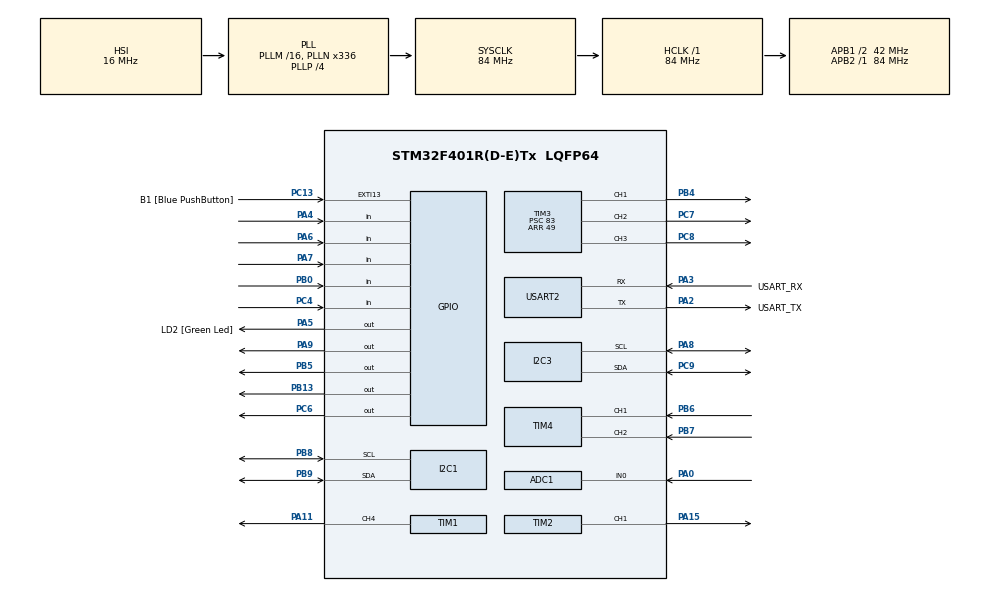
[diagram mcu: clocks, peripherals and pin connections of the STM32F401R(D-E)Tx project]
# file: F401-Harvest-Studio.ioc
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ADC1.Channel-0\#ChannelRegularConversion=ADC_CHANNEL_0
ADC1.NbrOfConversionFlag=1
ADC1.Rank-0\#ChannelRegularConversion=1
ADC1.SamplingTime-0\#ChannelRegularConversion=ADC_SAMPLETIME_3CYCLES
ADC1.master=1
Mcu.Family=STM32F4
Mcu.Name=STM32F401R(D-E)Tx
Mcu.Package=LQFP64
NVIC.PriorityGroup=NVIC_PRIORITYGROUP_0
PA0-WKUP.Signal=ADCx_IN0
PA11.Signal=S_TIM1_CH4
PA13.GPIO_Label=TMS
PA13.Mode=Serial_Wire
PA13.Signal=SYS_JTMS-SWDIO
PA14.GPIO_Label=TCK
PA14.Mode=Serial_Wire
PA14.Signal=SYS_JTCK-SWCLK
PA15.Signal=S_TIM2_CH1_ETR
PA2.GPIO_Label=USART_TX
PA2.GPIO_Mode=GPIO_MODE_AF_PP
PA2.GPIO_PuPd=GPIO_NOPULL
PA2.GPIO_Speed=GPIO_SPEED_FREQ_LOW
PA2.Mode=Asynchronous
PA2.Signal=USART2_TX
PA3.GPIO_Label=USART_RX
PA3.GPIO_Mode=GPIO_MODE_AF_PP
PA3.GPIO_PuPd=GPIO_NOPULL
PA3.GPIO_Speed=GPIO_SPEED_FREQ_LOW
PA3.Mode=Asynchronous
PA3.Signal=USART2_RX
PA4.Signal=GPIO_Input
PA5.GPIO_Label=LD2 [Green Led]
PA5.GPIO_Mode=GPIO_MODE_OUTPUT_PP
PA5.GPIO_PuPd=GPIO_NOPULL
PA5.GPIO_Speed=GPIO_SPEED_FREQ_LOW
PA5.Signal=GPIO_Output
PA6.GPIO_PuPd=GPIO_PULLDOWN
PA6.Signal=GPIO_Input
PA7.GPIO_PuPd=GPIO_PULLDOWN
PA7.Signal=GPIO_Input
PA8.Mode=I2C
PA8.Signal=I2C3_SCL
PA9.Signal=GPIO_Output
PB0.Signal=GPIO_Input
PB13.Signal=GPIO_Output
PB3.GPIO_Label=SWO
PB3.Signal=SYS_JTDO-SWO
PB4.Signal=S_TIM3_CH1
PB5.Signal=GPIO_Output
PB6.Signal=S_TIM4_CH1
PB7.Signal=S_TIM4_CH2
PB8.Mode=I2C
PB8.Signal=I2C1_SCL
PB9.Mode=I2C
PB9.Signal=I2C1_SDA
PC13-ANTI_TAMP.GPIO_Label=B1 [Blue PushButton]
PC13-ANTI_TAMP.GPIO_ModeDefaultEXTI=GPIO_MODE_IT_FALLING
PC13-ANTI_TAMP.GPIO_PuPd=GPIO_NOPULL
PC13-ANTI_TAMP.Signal=GPXTI13
PC14-OSC32_IN.Mode=LSE-External-Oscillator
PC14-OSC32_IN.Signal=RCC_OSC32_IN
PC15-OSC32_OUT.Mode=LSE-External-Oscillator
PC15-OSC32_OUT.Signal=RCC_OSC32_OUT
PC4.GPIO_PuPd=GPIO_PULLDOWN
PC4.Signal=GPIO_Input
PC6.Signal=GPIO_Output
PC7.Signal=S_TIM3_CH2
PC8.Signal=S_TIM3_CH3
PC9.Mode=I2C
PC9.Signal=I2C3_SDA
PH0\ -\ OSC_IN.Mode=HSE-External-Clock-Source
PH0\ -\ OSC_IN.Signal=RCC_OSC_IN
PH1\ -\ OSC_OUT.Mode=HSE-External-Clock-Source
PH1\ -\ OSC_OUT.Signal=RCC_OSC_OUT
ProjectManager.HeapSize=0x200
ProjectManager.StackSize=0x400
ProjectManager.TargetToolchain=STM32CubeIDE
RCC.48MHZClocksFreq_Value=48000000
RCC.AHBFreq_Value=84000000
RCC.APB1CLKDivider=RCC_HCLK_DIV2
RCC.APB1Freq_Value=42000000
RCC.APB1TimFreq_Value=84000000
RCC.APB2Freq_Value=84000000
RCC.APB2TimFreq_Value=84000000
RCC.CortexFreq_Value=84000000
RCC.HCLKFreq_Value=84000000
RCC.HSE_VALUE=8000000
RCC.HSI_VALUE=16000000
RCC.PLLN=336
RCC.PLLP=RCC_PLLP_DIV4
RCC.PLLQ=7
RCC.SYSCLKFreq_VALUE=84000000
RCC.SYSCLKSource=RCC_SYSCLKSOURCE_PLLCLK
RCC.VCOOutputFreq_Value=336000000
SH.ADCx_IN0.0=ADC1_IN0,IN0
SH.S_TIM1_CH4.0=TIM1_CH4,PWM Generation4 CH4
SH.S_TIM2_CH1_ETR.0=TIM2_CH1,PWM Generation1 CH1
SH.S_TIM3_CH1.0=TIM3_CH1,PWM Generation1 CH1
SH.S_TIM3_CH2.0=TIM3_CH2,PWM Generation2 CH2
SH.S_TIM3_CH3.0=TIM3_CH3,PWM Generation3 CH3
SH.S_TIM4_CH1.0=TIM4_CH1,Encoder_Interface
SH.S_TIM4_CH2.0=TIM4_CH2,Encoder_Interface
TIM1.Channel-PWM\ Generation4\ CH4=TIM_CHANNEL_4
TIM1.Period=49
TIM1.Prescaler=83
TIM2.Channel-PWM\ Generation1\ CH1=TIM_CHANNEL_1
TIM2.Prescaler=83
TIM3.Channel-PWM\ Generation1\ CH1=TIM_CHANNEL_1
TIM3.Channel-PWM\ Generation2\ CH2=TIM_CHANNEL_2
TIM3.Channel-PWM\ Generation3\ CH3=TIM_CHANNEL_3
TIM3.Period=49
TIM3.Prescaler=83
TIM4.EncoderMode=TIM_ENCODERMODE_TI12
USART2.VirtualMode=VM_ASYNC
board=NUCLEO-F401RE

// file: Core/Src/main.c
/* USER CODE BEGIN Header */
/**
  ******************************************************************************
  * @file           : main.c
  * @brief          : Main program body
  ******************************************************************************
  * @attention
  *
  * <h2><center>&copy; Copyright (c) 2021 STMicroelectronics.
  * All rights reserved.</center></h2>
  *
  * This software component is licensed by ST under BSD 3-Clause license,
  * the "License"; You may not use this file except in compliance with the
  * License. You may obtain a copy of the License at:
  *                        opensource.org/licenses/BSD-3-Clause
  *
  *******count***********************************************************************
  */
/* USER CODE END Header */
#include "main.h"

/* USER CODE BEGIN Includes */
#define _USE_MATH_DEFINES
#include<math.h>
#include<stdlib.h>
#include<stdio.h>
/* USER CODE END Includes */

/* USER CODE BEGIN PM */
#define P_GAIN 1.0
#define I_GAIN 0.05
#define D_GAIN 0.01
#define DELTA_T 0.01

#define AS5600_RESOLUTION_PPR   4096
#define AS5600_DEV_ADDRESS      (0x36<<1)
#define AS5600_REG_RAW_ANGLE    0x0C
/* USER CODE END PM */

ADC_HandleTypeDef hadc1;

I2C_HandleTypeDef hi2c1;
I2C_HandleTypeDef hi2c3;

TIM_HandleTypeDef htim1;
TIM_HandleTypeDef htim2;
TIM_HandleTypeDef htim3;
TIM_HandleTypeDef htim4;

UART_HandleTypeDef huart2;

void SystemClock_Config(void);
static void MX_GPIO_Init(void);
static void MX_USART2_UART_Init(void);
static void MX_TIM4_Init(void);
static void MX_ADC1_Init(void);
static void MX_I2C1_Init(void);
static void MX_I2C3_Init(void);
static void MX_TIM1_Init(void);
static void MX_TIM3_Init(void);
static void MX_TIM2_Init(void);

/* USER CODE BEGIN 0 */
uint16_t pot_rotate_control(uint16_t count);
void dual_arm_control(float target_angle);
int motor_pid(int n, float sensor_angle, float target_angle, int reset);
float read_arm_encoder_value(int n);
uint16_t read_rotary_encoder_value(void);
int distance_read(void);

// ポット�??��半�?に基づ?��?1/4回転を台形制御により実�?
uint16_t pot_rotate_control(uint16_t count){
	static int first = 1;
	static uint16_t need_count;
	static uint16_t now_count = 0;

	uint16_t max_speed = 8;
	uint16_t min_speed = 6;

	float pot_radius;
	float arm_angle;

	if (first == 1){
		float a,b,c,d,w,r1,r2,A,B,C,D,E;
		first = 0;
		// calculate pot radius
		a = 212.5;
		b = 83.5;
		c = 222.5;
		d = 64.58;
		w = 190.0;
		r1 = 68.97/2;
		r2 = 35.0;

		arm_angle = (read_arm_encoder_value(1) + read_arm_encoder_value(2))*M_PI/360;
		A = pow(a,2) + a*w - 2*(a+w/2)*(c*sin(arm_angle) + d*cos(arm_angle)) + pow(c,2) + pow(d,2) + pow(r1,2) - pow(r2,2) + 2*b*(c*cos(arm_angle) - d*sin(arm_angle)) + pow(b,2);
		B = c*cos(arm_angle) - d*sin(arm_angle) + b;
		C = pow((r1-r2)/2, 2)-1;
		D = A/pow(B,2)*(r1-r2) - 2*r1;
		E = pow(A/(2*B),2) + pow(w/2,2) - pow(r1,2);
		pot_radius = (-D -sqrt(pow(D,2) - 4*C*E))/(2*C);

		need_count = (uint16_t)pot_radius/r1 * 10 / 6 * 720 * 0.25;
	}

	now_count += count;

	if (now_count < need_count/4){
		// __HAL_TIM_SET_COMPARE(&htim3, TIM_CHANNEL_3, (uint16_t)(4*(max_speed-min_speed)/need_count*now_count + min_speed));
		__HAL_TIM_SET_COMPARE(&htim3, TIM_CHANNEL_3, min_speed);
		HAL_GPIO_WritePin(GPIOC, GPIO_PIN_6, GPIO_PIN_SET);
		return 1;
	}
	else if(now_count >= need_count/4 && now_count < need_count/2){
		// __HAL_TIM_SET_COMPARE(&htim3, TIM_CHANNEL_3, max_speed);
		__HAL_TIM_SET_COMPARE(&htim3, TIM_CHANNEL_3, max_speed);
		HAL_GPIO_WritePin(GPIOC, GPIO_PIN_6, GPIO_PIN_SET);
		return 2;
	}
	else if(now_count >= need_count/2 && now_count < need_count){
		// __HAL_TIM_SET_COMPARE(&htim3, TIM_CHANNEL_3, (uint16_t)(2*min_speed*(1 - now_count/need_count)));
		__HAL_TIM_SET_COMPARE(&htim3, TIM_CHANNEL_3, min_speed);
		HAL_GPIO_WritePin(GPIOC, GPIO_PIN_6, GPIO_PIN_SET);
		return 3;
	}
	else{
		__HAL_TIM_SET_COMPARE(&htim3, TIM_CHANNEL_3, 0);
		HAL_GPIO_WritePin(GPIOC, GPIO_PIN_6, GPIO_PIN_SET);
		first = 1;
		now_count = 0;
		return 65535;
	}
}

void dual_arm_control(float target_angle){
	float sensor_angle;
	int pid_value;

	/* left arm control */
	sensor_angle = read_arm_encoder_value(1);
	pid_value = motor_pid(1, sensor_angle, target_angle, 0);
	if (pid_value > 0){
		HAL_GPIO_WritePin(GPIOB, GPIO_PIN_5, GPIO_PIN_SET);
	}
	else{
		HAL_GPIO_WritePin(GPIOB, GPIO_PIN_5, GPIO_PIN_RESET);
	}
	__HAL_TIM_SET_COMPARE(&htim3, TIM_CHANNEL_1, abs(pid_value));

	/* right arm control */
	sensor_angle = read_arm_encoder_value(2);
	pid_value = motor_pid(2, sensor_angle, target_angle, 0);
	if (pid_value > 0){
		HAL_GPIO_WritePin(GPIOA, GPIO_PIN_9, GPIO_PIN_SET);
	}
	else{
		HAL_GPIO_WritePin(GPIOA, GPIO_PIN_9, GPIO_PIN_RESET);
	}
	__HAL_TIM_SET_COMPARE(&htim3, TIM_CHANNEL_2, abs(pid_value));
}
/* n: 1 or 2(モータ番号)、sensor_angle: エンコー?��?の出力角度、target_angle: 目標角度、reset: 0 or 1??��?integral?��?0にするかど?��?か�?*/
int motor_pid(int n, float sensor_angle, float target_angle, int reset){
	static signed long diff[2][2];
	static float integral[2];
	float p, i, d;
	if (reset == 1){
		integral[n] = 0;
	}
	diff[n][0] = diff[n][1];
	diff[n][1] = sensor_angle - target_angle;
	integral[n] += (diff[n][0] + diff[n][1])/2.0 * DELTA_T;
	p = P_GAIN * diff[n][1];
	i = I_GAIN * integral[n];
	d = D_GAIN * (diff[n][1] - diff[n][0]) / DELTA_T;
	if (p+i+d > 8.0){
		return 8;
	}
	else if (p+i+d < -8.0){
		return -8;
	}
	else{
		return (int)p+i+d;
	}
}

float read_arm_encoder_value(int n){
	HAL_StatusTypeDef returnValue = 0;
	uint16_t RawAngle;
	double DegAngle;
	uint8_t Encoder_Buff[2];
	if (n==1){
		returnValue = HAL_I2C_Mem_Read(&hi2c1, AS5600_DEV_ADDRESS, AS5600_REG_RAW_ANGLE,
					I2C_MEMADD_SIZE_8BIT, (uint8_t*)Encoder_Buff, 2, 5000);
	}
	else if (n==2){
		returnValue = HAL_I2C_Mem_Read(&hi2c3, AS5600_DEV_ADDRESS, AS5600_REG_RAW_ANGLE,
					I2C_MEMADD_SIZE_8BIT, (uint8_t*)Encoder_Buff, 2, 5000);
	}

	if (returnValue == HAL_ERROR){
		NVIC_SystemReset();
	}

	RawAngle = (uint16_t) Encoder_Buff[0] << 8 | (uint16_t) Encoder_Buff[1];
	RawAngle &= 0x0FFF;
	DegAngle = RawAngle * 360 / AS5600_RESOLUTION_PPR - 180.0;
	return DegAngle*0.6;
}

uint16_t read_rotary_encoder_value(void){
	uint16_t enc_buff = TIM4->CNT;
	TIM4->CNT = 0;
	if (enc_buff > 32767){
		return enc_buff;
	}
	else{
		return enc_buff;
	}
}

int distance_read(void){
	HAL_ADC_Start(&hadc1);
	HAL_ADC_PollForConversion(&hadc1, 100);
	HAL_ADC_Stop(&hadc1);
	return HAL_ADC_GetValue(&hadc1);
}

/* USER CODE END 0 */

int main(void)
{

  /* MCU Configuration--------------------------------------------------------*/

  /* Reset of all peripherals, Initializes the Flash interface and the Systick. */
  HAL_Init();

  /* Configure the system clock */
  SystemClock_Config();

  /* Initialize all configured peripherals */
  MX_GPIO_Init();
  MX_USART2_UART_Init();
  MX_TIM4_Init();
  MX_ADC1_Init();
  MX_I2C1_Init();
  MX_I2C3_Init();
  MX_TIM1_Init();
  MX_TIM3_Init();
  MX_TIM2_Init();
  /* USER CODE BEGIN 2 */
  int mode = 0;
  int pot_rotate_mode = 0;
  int waiting = 0;
  int pot_grasping = 0;
  float last_right_value = 0;
  float last_left_value = 0;
  uint16_t is_rotating = 0;
  uint8_t usr_buf[1000];

  /* Start PWM */
  HAL_TIM_PWM_Start(&htim1, TIM_CHANNEL_4);
  HAL_TIM_PWM_Start(&htim3, TIM_CHANNEL_1);
  HAL_TIM_PWM_Start(&htim3, TIM_CHANNEL_2);
  HAL_TIM_PWM_Start(&htim3, TIM_CHANNEL_3);
  HAL_TIM_PWM_Start(&htim2, TIM_CHANNEL_1);

  /* Start Encoder */
  HAL_TIM_Encoder_Start(&htim4, TIM_CHANNEL_ALL);

  /* USER CODE END 2 */

  /* Infinite loop */
  /* USER CODE BEGIN WHILE */
  while (1)
  {
	  /* debug */
	  /*
	  if(HAL_GPIO_ReadPin(GPIOA, GPIO_PIN_4)==1){
		  sprintf(usr_buf, "%d, %d, %d, %d\n\r", (int)read_arm_encoder_value(1), (int)read_arm_encoder_value(2), mode, 0);
	  }
	  else{
		  sprintf(usr_buf, "%d, %d, %d, %d\n\r", (int)read_arm_encoder_value(1), (int)read_arm_encoder_value(2), mode, 1);
	  }
	  */

	  /* Received reset signal from Raspberry Pi -> System reset*/
	  if (HAL_GPIO_ReadPin(GPIOC, GPIO_PIN_4) == 0){
		  NVIC_SystemReset();
	  }

	  /* communication */
	  sprintf(usr_buf, "%d, %d, %d, %d, %u\n\r", (int)read_arm_encoder_value(1), (int)read_arm_encoder_value(2), mode, pot_rotate_mode, is_rotating);

	  HAL_UART_Transmit(&huart2, usr_buf, strlen(usr_buf), 100);

	  switch(mode){
	  case 0:
		  /*アー?��?角を0度に設?��?*/
		  dual_arm_control(0.0);
		  /*把持司令信号を取得するまで?��??��?*/
		  /*信号取�?->mode=1*/
		  if (distance_read() < 1000){
			  pot_grasping = 0;
		  }
		  if (HAL_GPIO_ReadPin(GPIOA, GPIO_PIN_6) == 1 && HAL_GPIO_ReadPin(GPIOA, GPIO_PIN_7) == 0 && pot_grasping == 0){
			  mode = 1;
		  }

		  break;

	  case 1:
		  /*アー?��?角を0度に設?��?*/
		  dual_arm_control(0.0);
		  /*測距センサの閾値を上回るまで?��??��?*/
		  if (distance_read() > 3000 && pot_grasping == 0){
			  mode = 2;
			  pot_grasping = 1;
		  }
		  else{
			  pot_grasping = 0;
		  }
		  /*閾値?��??��?->mode=2*/

		  break;

	  case 2:
		  /*move arm, while each touch detection*/

		  /* left arm control */
		  if (HAL_GPIO_ReadPin(GPIOB, GPIO_PIN_0)==1){
			  HAL_GPIO_WritePin(GPIOB, GPIO_PIN_5, GPIO_PIN_SET);
			  /* if arm doesn't work, increase the duty ratio*/
			  if (last_left_value - read_arm_encoder_value(1) < 0.1){
				  __HAL_TIM_SET_COMPARE(&htim3, TIM_CHANNEL_1, 50);
			  }
			  __HAL_TIM_SET_COMPARE(&htim3, TIM_CHANNEL_1, 10);
			  last_left_value = read_arm_encoder_value(1);
		  }
		  else if(HAL_GPIO_ReadPin(GPIOB, GPIO_PIN_0)==0){
			  __HAL_TIM_SET_COMPARE(&htim3, TIM_CHANNEL_1, 0);
		  }

		  /* right arm control */
		  if (HAL_GPIO_ReadPin(GPIOA, GPIO_PIN_4)==1){
			  HAL_GPIO_WritePin(GPIOA, GPIO_PIN_9, GPIO_PIN_RESET);
			  /* if arm doesn't work, increase the duty ratio*/
			  if (last_right_value - read_arm_encoder_value(2) < 0.1){
				  __HAL_TIM_SET_COMPARE(&htim3, TIM_CHANNEL_2, 50);
			  }
			  __HAL_TIM_SET_COMPARE(&htim3, TIM_CHANNEL_2, 10);
			  last_right_value = read_arm_encoder_value(2);
		  }
		  else if(HAL_GPIO_ReadPin(GPIOA, GPIO_PIN_4)==0){
			  __HAL_TIM_SET_COMPARE(&htim3, TIM_CHANNEL_2, 0);
		  }

		  /*スイ?��?チ接触->アー?��?動作を停止,mode=3*/
		  if (HAL_GPIO_ReadPin(GPIOA, GPIO_PIN_4)==0 && HAL_GPIO_ReadPin(GPIOB, GPIO_PIN_0)==0){
			  mode = 3;
		  }

		  break;

	  case 3:
		  /*Pot rotate mode*/
		  /*ポット回転信号を受信するまで?��??��?*/
		  if (HAL_GPIO_ReadPin(GPIOA, GPIO_PIN_7) == 1 && pot_rotate_mode == 0){
			  pot_rotate_mode = 1;
		  }
		  /*受信?��?90度回転??��?��台形制御)*/
		  if (waiting == 0){
			  if (pot_rotate_mode > 0 && pot_rotate_mode <= 4){
				  is_rotating = pot_rotate_control((uint16_t)read_rotary_encoder_value());
				  if(is_rotating == 65535){
					  pot_rotate_mode++;
					  /*こ�??��まま?��?とノンストップでポットが?��?回転してしま?��?ので、新しくGPIOから入力されるまで?��?機す?��?*/
					  waiting = 1;
					  break;
				  }
			  }
			  else if (pot_rotate_mode == 5){
				  pot_rotate_mode = 0;
				  mode = 4;
				  break;
			  }
			  /*回転信号?��?4回受信->mode=4*/
		  }
		  else if(waiting == 1){
			  is_rotating = 0;
			  if (HAL_GPIO_ReadPin(GPIOA, GPIO_PIN_7) == 1){
				  waiting = 0;
			  }
			  break;
		  }
		  break;

	  case 4:
		  /*把持解除司令を受信->mode=0*/
		  if (HAL_GPIO_ReadPin(GPIOA, GPIO_PIN_6) == 1 && HAL_GPIO_ReadPin(GPIOA, GPIO_PIN_7) == 1){
			  mode = 0;
		  }
		  break;
	  }

	  HAL_Delay(DELTA_T * 100);

    /* USER CODE END WHILE */

  }
}

void SystemClock_Config(void)
{
  RCC_OscInitTypeDef RCC_OscInitStruct = {0};
  RCC_ClkInitTypeDef RCC_ClkInitStruct = {0};

  /** Configure the main internal regulator output voltage
  */
  __HAL_RCC_PWR_CLK_ENABLE();
  __HAL_PWR_VOLTAGESCALING_CONFIG(PWR_REGULATOR_VOLTAGE_SCALE2);
  /** Initializes the RCC Oscillators according to the specified parameters
  * in the RCC_OscInitTypeDef structure.
  */
  RCC_OscInitStruct.OscillatorType = RCC_OSCILLATORTYPE_HSI;
  RCC_OscInitStruct.HSIState = RCC_HSI_ON;
  RCC_OscInitStruct.HSICalibrationValue = RCC_HSICALIBRATION_DEFAULT;
  RCC_OscInitStruct.PLL.PLLState = RCC_PLL_ON;
  RCC_OscInitStruct.PLL.PLLSource = RCC_PLLSOURCE_HSI;
  RCC_OscInitStruct.PLL.PLLM = 16;
  RCC_OscInitStruct.PLL.PLLN = 336;
  RCC_OscInitStruct.PLL.PLLP = RCC_PLLP_DIV4;
  RCC_OscInitStruct.PLL.PLLQ = 7;
  if (HAL_RCC_OscConfig(&RCC_OscInitStruct) != HAL_OK)
  {
    Error_Handler();
  }
  /** Initializes the CPU, AHB and APB buses clocks
  */
  RCC_ClkInitStruct.ClockType = RCC_CLOCKTYPE_HCLK|RCC_CLOCKTYPE_SYSCLK
                              |RCC_CLOCKTYPE_PCLK1|RCC_CLOCKTYPE_PCLK2;
  RCC_ClkInitStruct.SYSCLKSource = RCC_SYSCLKSOURCE_PLLCLK;
  RCC_ClkInitStruct.AHBCLKDivider = RCC_SYSCLK_DIV1;
  RCC_ClkInitStruct.APB1CLKDivider = RCC_HCLK_DIV2;
  RCC_ClkInitStruct.APB2CLKDivider = RCC_HCLK_DIV1;

  if (HAL_RCC_ClockConfig(&RCC_ClkInitStruct, FLASH_LATENCY_2) != HAL_OK)
  {
    Error_Handler();
  }
}

static void MX_ADC1_Init(void)
{

  ADC_ChannelConfTypeDef sConfig = {0};

  /** Configure the global features of the ADC (Clock, Resolution, Data Alignment and number of conversion)
  */
  hadc1.Instance = ADC1;
  hadc1.Init.ClockPrescaler = ADC_CLOCK_SYNC_PCLK_DIV4;
  hadc1.Init.Resolution = ADC_RESOLUTION_12B;
  hadc1.Init.ScanConvMode = DISABLE;
  hadc1.Init.ContinuousConvMode = DISABLE;
  hadc1.Init.DiscontinuousConvMode = DISABLE;
  hadc1.Init.ExternalTrigConvEdge = ADC_EXTERNALTRIGCONVEDGE_NONE;
  hadc1.Init.ExternalTrigConv = ADC_SOFTWARE_START;
  hadc1.Init.DataAlign = ADC_DATAALIGN_RIGHT;
  hadc1.Init.NbrOfConversion = 1;
  hadc1.Init.DMAContinuousRequests = DISABLE;
  hadc1.Init.EOCSelection = ADC_EOC_SINGLE_CONV;
  if (HAL_ADC_Init(&hadc1) != HAL_OK)
  {
    Error_Handler();
  }
  /** Configure for the selected ADC regular channel its corresponding rank in the sequencer and its sample time.
  */
  sConfig.Channel = ADC_CHANNEL_0;
  sConfig.Rank = 1;
  sConfig.SamplingTime = ADC_SAMPLETIME_3CYCLES;
  if (HAL_ADC_ConfigChannel(&hadc1, &sConfig) != HAL_OK)
  {
    Error_Handler();
  }

}

static void MX_I2C1_Init(void)
{

  hi2c1.Instance = I2C1;
  hi2c1.Init.ClockSpeed = 100000;
  hi2c1.Init.DutyCycle = I2C_DUTYCYCLE_2;
  hi2c1.Init.OwnAddress1 = 0;
  hi2c1.Init.AddressingMode = I2C_ADDRESSINGMODE_7BIT;
  hi2c1.Init.DualAddressMode = I2C_DUALADDRESS_DISABLE;
  hi2c1.Init.OwnAddress2 = 0;
  hi2c1.Init.GeneralCallMode = I2C_GENERALCALL_DISABLE;
  hi2c1.Init.NoStretchMode = I2C_NOSTRETCH_DISABLE;
  if (HAL_I2C_Init(&hi2c1) != HAL_OK)
  {
    Error_Handler();
  }

}

static void MX_I2C3_Init(void)
{

  hi2c3.Instance = I2C3;
  hi2c3.Init.ClockSpeed = 100000;
  hi2c3.Init.DutyCycle = I2C_DUTYCYCLE_2;
  hi2c3.Init.OwnAddress1 = 0;
  hi2c3.Init.AddressingMode = I2C_ADDRESSINGMODE_7BIT;
  hi2c3.Init.DualAddressMode = I2C_DUALADDRESS_DISABLE;
  hi2c3.Init.OwnAddress2 = 0;
  hi2c3.Init.GeneralCallMode = I2C_GENERALCALL_DISABLE;
  hi2c3.Init.NoStretchMode = I2C_NOSTRETCH_DISABLE;
  if (HAL_I2C_Init(&hi2c3) != HAL_OK)
  {
    Error_Handler();
  }

}

static void MX_TIM1_Init(void)
{

  TIM_MasterConfigTypeDef sMasterConfig = {0};
  TIM_OC_InitTypeDef sConfigOC = {0};
  TIM_BreakDeadTimeConfigTypeDef sBreakDeadTimeConfig = {0};

  htim1.Instance = TIM1;
  htim1.Init.Prescaler = 83;
  htim1.Init.CounterMode = TIM_COUNTERMODE_UP;
  htim1.Init.Period = 49;
  htim1.Init.ClockDivision = TIM_CLOCKDIVISION_DIV1;
  htim1.Init.RepetitionCounter = 0;
  htim1.Init.AutoReloadPreload = TIM_AUTORELOAD_PRELOAD_DISABLE;
  if (HAL_TIM_PWM_Init(&htim1) != HAL_OK)
  {
    Error_Handler();
  }
  sMasterConfig.MasterOutputTrigger = TIM_TRGO_RESET;
  sMasterConfig.MasterSlaveMode = TIM_MASTERSLAVEMODE_DISABLE;
  if (HAL_TIMEx_MasterConfigSynchronization(&htim1, &sMasterConfig) != HAL_OK)
  {
    Error_Handler();
  }
  sConfigOC.OCMode = TIM_OCMODE_PWM1;
  sConfigOC.Pulse = 0;
  sConfigOC.OCPolarity = TIM_OCPOLARITY_HIGH;
  sConfigOC.OCFastMode = TIM_OCFAST_DISABLE;
  sConfigOC.OCIdleState = TIM_OCIDLESTATE_RESET;
  sConfigOC.OCNIdleState = TIM_OCNIDLESTATE_RESET;
  if (HAL_TIM_PWM_ConfigChannel(&htim1, &sConfigOC, TIM_CHANNEL_4) != HAL_OK)
  {
    Error_Handler();
  }
  sBreakDeadTimeConfig.OffStateRunMode = TIM_OSSR_DISABLE;
  sBreakDeadTimeConfig.OffStateIDLEMode = TIM_OSSI_DISABLE;
  sBreakDeadTimeConfig.LockLevel = TIM_LOCKLEVEL_OFF;
  sBreakDeadTimeConfig.DeadTime = 0;
  sBreakDeadTimeConfig.BreakState = TIM_BREAK_DISABLE;
  sBreakDeadTimeConfig.BreakPolarity = TIM_BREAKPOLARITY_HIGH;
  sBreakDeadTimeConfig.AutomaticOutput = TIM_AUTOMATICOUTPUT_DISABLE;
  if (HAL_TIMEx_ConfigBreakDeadTime(&htim1, &sBreakDeadTimeConfig) != HAL_OK)
  {
    Error_Handler();
  }
  HAL_TIM_MspPostInit(&htim1);

}

static void MX_TIM2_Init(void)
{

  TIM_MasterConfigTypeDef sMasterConfig = {0};
  TIM_OC_InitTypeDef sConfigOC = {0};

  htim2.Instance = TIM2;
  htim2.Init.Prescaler = 83;
  htim2.Init.CounterMode = TIM_COUNTERMODE_UP;
  htim2.Init.Period = 4294967295;
  htim2.Init.ClockDivision = TIM_CLOCKDIVISION_DIV1;
  htim2.Init.AutoReloadPreload = TIM_AUTORELOAD_PRELOAD_DISABLE;
  if (HAL_TIM_PWM_Init(&htim2) != HAL_OK)
  {
    Error_Handler();
  }
  sMasterConfig.MasterOutputTrigger = TIM_TRGO_RESET;
  sMasterConfig.MasterSlaveMode = TIM_MASTERSLAVEMODE_DISABLE;
  if (HAL_TIMEx_MasterConfigSynchronization(&htim2, &sMasterConfig) != HAL_OK)
  {
    Error_Handler();
  }
  sConfigOC.OCMode = TIM_OCMODE_PWM1;
  sConfigOC.Pulse = 0;
  sConfigOC.OCPolarity = TIM_OCPOLARITY_HIGH;
  sConfigOC.OCFastMode = TIM_OCFAST_DISABLE;
  if (HAL_TIM_PWM_ConfigChannel(&htim2, &sConfigOC, TIM_CHANNEL_1) != HAL_OK)
  {
    Error_Handler();
  }
  HAL_TIM_MspPostInit(&htim2);

}

static void MX_TIM3_Init(void)
{

  TIM_MasterConfigTypeDef sMasterConfig = {0};
  TIM_OC_InitTypeDef sConfigOC = {0};

  htim3.Instance = TIM3;
  htim3.Init.Prescaler = 83;
  htim3.Init.CounterMode = TIM_COUNTERMODE_UP;
  htim3.Init.Period = 49;
  htim3.Init.ClockDivision = TIM_CLOCKDIVISION_DIV1;
  htim3.Init.AutoReloadPreload = TIM_AUTORELOAD_PRELOAD_DISABLE;
  if (HAL_TIM_PWM_Init(&htim3) != HAL_OK)
  {
    Error_Handler();
  }
  sMasterConfig.MasterOutputTrigger = TIM_TRGO_RESET;
  sMasterConfig.MasterSlaveMode = TIM_MASTERSLAVEMODE_DISABLE;
  if (HAL_TIMEx_MasterConfigSynchronization(&htim3, &sMasterConfig) != HAL_OK)
  {
    Error_Handler();
  }
  sConfigOC.OCMode = TIM_OCMODE_PWM1;
  sConfigOC.Pulse = 0;
  sConfigOC.OCPolarity = TIM_OCPOLARITY_HIGH;
  sConfigOC.OCFastMode = TIM_OCFAST_DISABLE;
  if (HAL_TIM_PWM_ConfigChannel(&htim3, &sConfigOC, TIM_CHANNEL_1) != HAL_OK)
  {
    Error_Handler();
  }
  if (HAL_TIM_PWM_ConfigChannel(&htim3, &sConfigOC, TIM_CHANNEL_2) != HAL_OK)
  {
    Error_Handler();
  }
  if (HAL_TIM_PWM_ConfigChannel(&htim3, &sConfigOC, TIM_CHANNEL_3) != HAL_OK)
  {
    Error_Handler();
  }
  HAL_TIM_MspPostInit(&htim3);

}

static void MX_TIM4_Init(void)
{

  TIM_Encoder_InitTypeDef sConfig = {0};
  TIM_MasterConfigTypeDef sMasterConfig = {0};

  htim4.Instance = TIM4;
  htim4.Init.Prescaler = 0;
  htim4.Init.CounterMode = TIM_COUNTERMODE_UP;
  htim4.Init.Period = 65535;
  htim4.Init.ClockDivision = TIM_CLOCKDIVISION_DIV1;
  htim4.Init.AutoReloadPreload = TIM_AUTORELOAD_PRELOAD_DISABLE;
  sConfig.EncoderMode = TIM_ENCODERMODE_TI12;
  sConfig.IC1Polarity = TIM_ICPOLARITY_RISING;
  sConfig.IC1Selection = TIM_ICSELECTION_DIRECTTI;
  sConfig.IC1Prescaler = TIM_ICPSC_DIV1;
  sConfig.IC1Filter = 0;
  sConfig.IC2Polarity = TIM_ICPOLARITY_RISING;
  sConfig.IC2Selection = TIM_ICSELECTION_DIRECTTI;
  sConfig.IC2Prescaler = TIM_ICPSC_DIV1;
  sConfig.IC2Filter = 0;
  if (HAL_TIM_Encoder_Init(&htim4, &sConfig) != HAL_OK)
  {
    Error_Handler();
  }
  sMasterConfig.MasterOutputTrigger = TIM_TRGO_RESET;
  sMasterConfig.MasterSlaveMode = TIM_MASTERSLAVEMODE_DISABLE;
  if (HAL_TIMEx_MasterConfigSynchronization(&htim4, &sMasterConfig) != HAL_OK)
  {
    Error_Handler();
  }

}

static void MX_USART2_UART_Init(void)
{

  huart2.Instance = USART2;
  huart2.Init.BaudRate = 115200;
  huart2.Init.WordLength = UART_WORDLENGTH_8B;
  huart2.Init.StopBits = UART_STOPBITS_1;
  huart2.Init.Parity = UART_PARITY_NONE;
  huart2.Init.Mode = UART_MODE_TX_RX;
  huart2.Init.HwFlowCtl = UART_HWCONTROL_NONE;
  huart2.Init.OverSampling = UART_OVERSAMPLING_16;
  if (HAL_UART_Init(&huart2) != HAL_OK)
  {
    Error_Handler();
  }

}

static void MX_GPIO_Init(void)
{
  GPIO_InitTypeDef GPIO_InitStruct = {0};

  /* GPIO Ports Clock Enable */
  __HAL_RCC_GPIOC_CLK_ENABLE();
  __HAL_RCC_GPIOH_CLK_ENABLE();
  __HAL_RCC_GPIOA_CLK_ENABLE();
  __HAL_RCC_GPIOB_CLK_ENABLE();

  /*Configure GPIO pin Output Level */
  HAL_GPIO_WritePin(GPIOA, LD2_Pin|GPIO_PIN_9, GPIO_PIN_RESET);

  /*Configure GPIO pin Output Level */
  HAL_GPIO_WritePin(GPIOB, GPIO_PIN_13|GPIO_PIN_5, GPIO_PIN_RESET);

  /*Configure GPIO pin Output Level */
  HAL_GPIO_WritePin(GPIOC, GPIO_PIN_6, GPIO_PIN_RESET);

  /*Configure GPIO pin : B1_Pin */
  GPIO_InitStruct.Pin = B1_Pin;
  GPIO_InitStruct.Mode = GPIO_MODE_IT_FALLING;
  GPIO_InitStruct.Pull = GPIO_NOPULL;
  HAL_GPIO_Init(B1_GPIO_Port, &GPIO_InitStruct);

  /*Configure GPIO pin : PA4 */
  GPIO_InitStruct.Pin = GPIO_PIN_4;
  GPIO_InitStruct.Mode = GPIO_MODE_INPUT;
  GPIO_InitStruct.Pull = GPIO_NOPULL;
  HAL_GPIO_Init(GPIOA, &GPIO_InitStruct);

  /*Configure GPIO pins : LD2_Pin PA9 */
  GPIO_InitStruct.Pin = LD2_Pin|GPIO_PIN_9;
  GPIO_InitStruct.Mode = GPIO_MODE_OUTPUT_PP;
  GPIO_InitStruct.Pull = GPIO_NOPULL;
  GPIO_InitStruct.Speed = GPIO_SPEED_FREQ_LOW;
  HAL_GPIO_Init(GPIOA, &GPIO_InitStruct);

  /*Configure GPIO pins : PA6 PA7 */
  GPIO_InitStruct.Pin = GPIO_PIN_6|GPIO_PIN_7;
  GPIO_InitStruct.Mode = GPIO_MODE_INPUT;
  GPIO_InitStruct.Pull = GPIO_PULLDOWN;
  HAL_GPIO_Init(GPIOA, &GPIO_InitStruct);

  /*Configure GPIO pin : PC4 */
  GPIO_InitStruct.Pin = GPIO_PIN_4;
  GPIO_InitStruct.Mode = GPIO_MODE_INPUT;
  GPIO_InitStruct.Pull = GPIO_PULLDOWN;
  HAL_GPIO_Init(GPIOC, &GPIO_InitStruct);

  /*Configure GPIO pin : PB0 */
  GPIO_InitStruct.Pin = GPIO_PIN_0;
  GPIO_InitStruct.Mode = GPIO_MODE_INPUT;
  GPIO_InitStruct.Pull = GPIO_NOPULL;
  HAL_GPIO_Init(GPIOB, &GPIO_InitStruct);

  /*Configure GPIO pins : PB13 PB5 */
  GPIO_InitStruct.Pin = GPIO_PIN_13|GPIO_PIN_5;
  GPIO_InitStruct.Mode = GPIO_MODE_OUTPUT_PP;
  GPIO_InitStruct.Pull = GPIO_NOPULL;
  GPIO_InitStruct.Speed = GPIO_SPEED_FREQ_LOW;
  HAL_GPIO_Init(GPIOB, &GPIO_InitStruct);

  /*Configure GPIO pin : PC6 */
  GPIO_InitStruct.Pin = GPIO_PIN_6;
  GPIO_InitStruct.Mode = GPIO_MODE_OUTPUT_PP;
  GPIO_InitStruct.Pull = GPIO_NOPULL;
  GPIO_InitStruct.Speed = GPIO_SPEED_FREQ_LOW;
  HAL_GPIO_Init(GPIOC, &GPIO_InitStruct);

}

void Error_Handler(void)
{
  __disable_irq();
  while (1)
  {
  }
}

/************************ (C) COPYRIGHT STMicroelectronics *****END OF FILE****/
